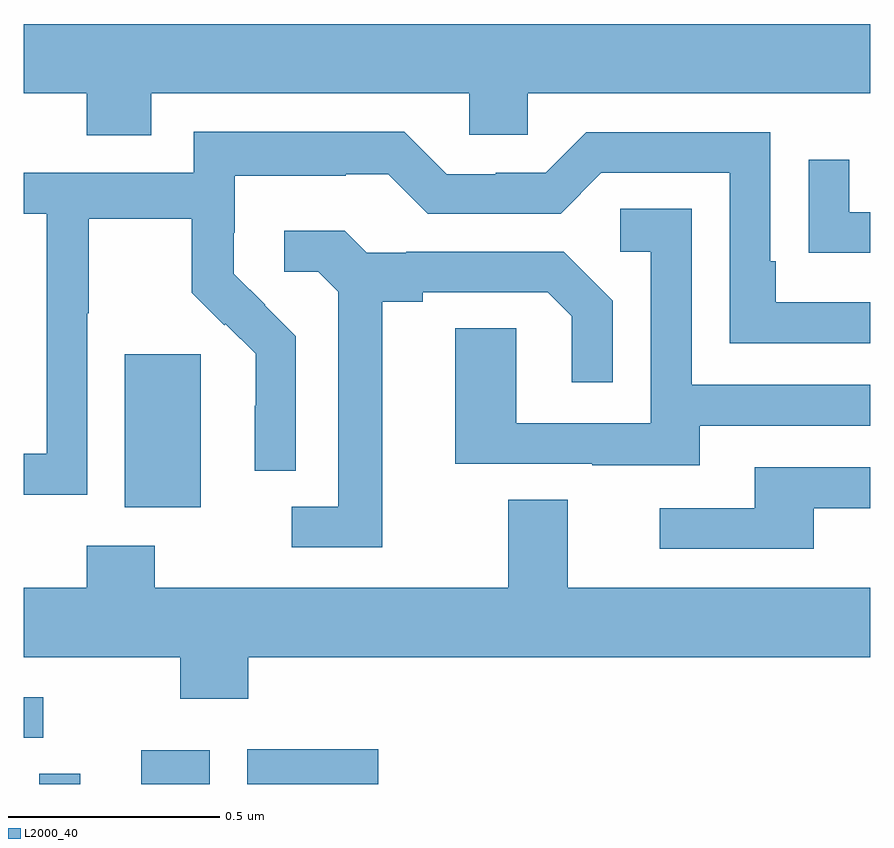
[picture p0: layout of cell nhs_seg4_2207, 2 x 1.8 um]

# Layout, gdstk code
import gdstk
lib = gdstk.Library(unit=1e-6, precision=1e-09)
def R(c, l, rs):  # rectangles x0, y0, x1, y1
    for r in rs: c.add(gdstk.rectangle(r[:2], r[2:], *l))
def P(c, l, *ps):  # polygons
    for p in ps: c.add(gdstk.Polygon(p, *l))
L2000_40 = (2000, 40)

nhs_seg4_2207 = lib.new_cell('nhs_seg4_2207')
R(nhs_seg4_2207, L2000_40, [(138.036,749.9,138.133,749.924), (138.278,749.9,138.439,749.98), (138.528,749.9,138.838,749.982), (138,750.009,138.046,750.105), (138.239,750.554,138.418,750.915)])
P(nhs_seg4_2207, L2000_40, [(138.301,751.532),(139.053,751.532),(139.053,751.434),(139.191,751.434),(139.191,751.532),(140,751.532),(140,751.696),(138,751.696),(138,751.532),(138.149,751.532),(138.149,751.433),(138.301,751.433)],
  [(138.15,751.012),(138.153,751.012),(138.153,751.236),(138.397,751.236),(138.397,751.061),(138.474,750.984),(138.477,750.987),(138.548,750.917),(138.548,750.794),(138.546,750.794),(138.546,750.64),(138.642,750.64),(138.642,750.958),(138.569,751.031),(138.57,751.032),(138.496,751.106),(138.496,751.203),(138.498,751.203),(138.498,751.337),(138.761,751.337),(138.761,751.341),(138.861,751.341),(138.954,751.248),(139.269,751.248),(139.365,751.344),(139.668,751.344),(139.668,750.942),(140,750.942),(140,751.038),(139.777,751.038),(139.777,751.135),(139.764,751.135),(139.764,751.44),(139.329,751.44),(139.233,751.344),(139.115,751.344),(139.115,751.341),(138.999,751.341),(138.899,751.441),(138.402,751.441),(138.402,751.344),(138,751.344),(138,751.248),(138.054,751.248),(138.054,750.681),(138,750.681),(138,750.583),(138.15,750.583)],
  [(140,751.251),(139.951,751.251),(139.951,751.375),(139.855,751.375),(139.855,751.156),(139.957,751.156),(139.957,751.155),(140,751.155)],
  [(139.597,750.747),(140,750.747),(140,750.843),(139.578,750.843),(139.578,751.259),(139.41,751.259),(139.41,751.158),(139.482,751.158),(139.482,750.753),(139.164,750.753),(139.164,750.977),(139.019,750.977),(139.019,750.657),(139.343,750.657),(139.343,750.653),(139.597,750.653)],
  [(138.847,751.04),(138.943,751.04),(138.943,751.062),(139.238,751.062),(139.295,751.005),(139.295,750.849),(139.392,750.849),(139.392,751.042),(139.276,751.158),(138.904,751.158),(138.904,751.155),(138.81,751.155),(138.758,751.207),(138.615,751.207),(138.615,751.11),(138.696,751.11),(138.743,751.063),(138.743,750.555),(138.633,750.555),(138.633,750.459),(138.847,750.459)],
  [(139.867,750.552),(140,750.552),(140,750.648),(139.727,750.648),(139.727,750.552),(139.503,750.552),(139.503,750.456),(139.867,750.456)],
  [(138.53,750.2),(140,750.2),(140,750.364),(139.285,750.364),(139.285,750.572),(139.145,750.572),(139.145,750.364),(138.309,750.364),(138.309,750.463),(138.149,750.463),(138.149,750.364),(138,750.364),(138,750.2),(138.37,750.2),(138.37,750.101),(138.53,750.101)])

lib.write_gds('nhs_seg4_2207.gds')
